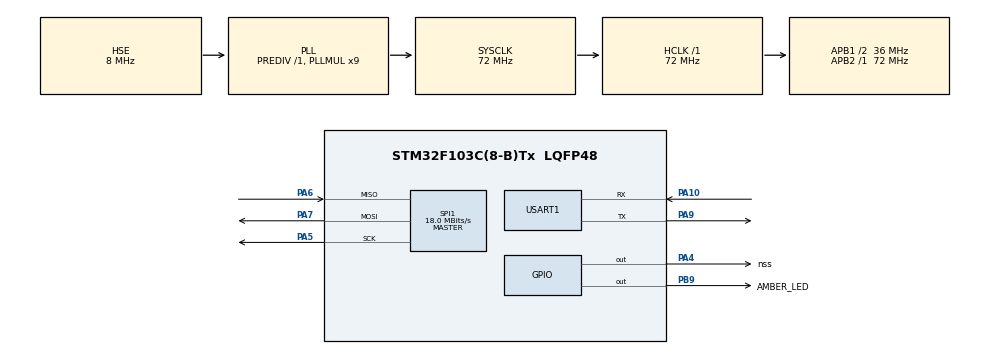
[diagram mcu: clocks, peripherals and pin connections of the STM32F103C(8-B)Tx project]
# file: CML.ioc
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Mcu.Family=STM32F1
Mcu.Name=STM32F103C(8-B)Tx
Mcu.Package=LQFP48
NVIC.PriorityGroup=NVIC_PRIORITYGROUP_4
NVIC.SPI1_IRQn=true\:0\:0\:false\:false\:true
NVIC.USART1_IRQn=true\:0\:0\:false\:false\:true
PA10.Mode=Asynchronous
PA10.Signal=USART1_RX
PA13.Mode=Serial_Wire
PA13.Signal=SYS_JTMS-SWDIO
PA14.Mode=Serial_Wire
PA14.Signal=SYS_JTCK-SWCLK
PA4.GPIO_Label=nss
PA4.GPIO_Speed=GPIO_SPEED_FREQ_HIGH
PA4.PinState=GPIO_PIN_SET
PA4.Signal=GPIO_Output
PA5.Mode=Full_Duplex_Master
PA5.Signal=SPI1_SCK
PA6.Mode=Full_Duplex_Master
PA6.Signal=SPI1_MISO
PA7.Mode=Full_Duplex_Master
PA7.Signal=SPI1_MOSI
PA9.Mode=Asynchronous
PA9.Signal=USART1_TX
PB9.GPIO_Label=AMBER_LED
PB9.GPIO_ModeDefaultOutputPP=GPIO_MODE_OUTPUT_PP
PB9.PinState=GPIO_PIN_SET
PB9.Signal=GPIO_Output
PD0-OSC_IN.Mode=HSE-External-Oscillator
PD0-OSC_IN.Signal=RCC_OSC_IN
PD1-OSC_OUT.Mode=HSE-External-Oscillator
PD1-OSC_OUT.Signal=RCC_OSC_OUT
ProjectManager.HeapSize=0x200
ProjectManager.StackSize=0x400
ProjectManager.TargetToolchain=SW4STM32
RCC.AHBFreq_Value=72000000
RCC.APB1CLKDivider=RCC_HCLK_DIV2
RCC.APB1Freq_Value=36000000
RCC.APB1TimFreq_Value=72000000
RCC.APB2Freq_Value=72000000
RCC.APB2TimFreq_Value=72000000
RCC.HCLKFreq_Value=72000000
RCC.PLLMUL=RCC_PLL_MUL9
RCC.PLLSourceVirtual=RCC_PLLSOURCE_HSE
RCC.SYSCLKFreq_VALUE=72000000
RCC.SYSCLKSource=RCC_SYSCLKSOURCE_PLLCLK
RCC.USBFreq_Value=72000000
SPI1.BaudRatePrescaler=SPI_BAUDRATEPRESCALER_4
SPI1.CLKPhase=SPI_PHASE_1EDGE
SPI1.CLKPolarity=SPI_POLARITY_LOW
SPI1.CalculateBaudRate=18.0 MBits/s
SPI1.Direction=SPI_DIRECTION_2LINES
SPI1.Mode=SPI_MODE_MASTER
SPI1.VirtualType=VM_MASTER
USART1.VirtualMode=VM_ASYNC
board=CML

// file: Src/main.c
/**
  ******************************************************************************
  * File Name          : main.c
  * Description        : Main program body
  ******************************************************************************
  ** This notice applies to any and all portions of this file
  * that are not between comment pairs USER CODE BEGIN and
  * USER CODE END. Other portions of this file, whether
  * inserted by the user or by software development tools
  * are owned by their respective copyright owners.
  *
  * COPYRIGHT(c) 2017 STMicroelectronics
  *
  * Redistribution and use in source and binary forms, with or without modification,
  * are permitted provided that the following conditions are met:
  *   1. Redistributions of source code must retain the above copyright notice,
  *      this list of conditions and the following disclaimer.
  *   2. Redistributions in binary form must reproduce the above copyright notice,
  *      this list of conditions and the following disclaimer in the documentation
  *      and/or other materials provided with the distribution.
  *   3. Neither the name of STMicroelectronics nor the names of its contributors
  *      may be used to endorse or promote products derived from this software
  *      without specific prior written permission.
  *
  * THIS SOFTWARE IS PROVIDED BY THE COPYRIGHT HOLDERS AND CONTRIBUTORS "AS IS"
  * AND ANY EXPRESS OR IMPLIED WARRANTIES, INCLUDING, BUT NOT LIMITED TO, THE
  * IMPLIED WARRANTIES OF MERCHANTABILITY AND FITNESS FOR A PARTICULAR PURPOSE ARE
  * DISCLAIMED. IN NO EVENT SHALL THE COPYRIGHT HOLDER OR CONTRIBUTORS BE LIABLE
  * FOR ANY DIRECT, INDIRECT, INCIDENTAL, SPECIAL, EXEMPLARY, OR CONSEQUENTIAL
  * DAMAGES (INCLUDING, BUT NOT LIMITED TO, PROCUREMENT OF SUBSTITUTE GOODS OR
  * SERVICES; LOSS OF USE, DATA, OR PROFITS; OR BUSINESS INTERRUPTION) HOWEVER
  * CAUSED AND ON ANY THEORY OF LIABILITY, WHETHER IN CONTRACT, STRICT LIABILITY,
  * OR TORT (INCLUDING NEGLIGENCE OR OTHERWISE) ARISING IN ANY WAY OUT OF THE USE
  * OF THIS SOFTWARE, EVEN IF ADVISED OF THE POSSIBILITY OF SUCH DAMAGE.
  *
  ******************************************************************************
  */
#include "main.h"
#include "stm32f1xx_hal.h"

/* USER CODE BEGIN Includes */
#include <string.h>
#include "strtonum.h"
#include <stdio.h>
#include <stdlib.h>
#include <errno.h>
#include <ctype.h>
#include <limits.h>
#include "SM_CommandLineInterface.h"

/* USER CODE END Includes */

SPI_HandleTypeDef hspi1;

UART_HandleTypeDef huart1;

/* USER CODE BEGIN PV */
/* Private variables ---------------------------------------------------------*/
extern void initialise_monitor_handles(void);
/* USER CODE END PV */

void SystemClock_Config(void);
static void MX_GPIO_Init(void);
static void MX_USART1_UART_Init(void);
static void MX_SPI1_Init(void);

/* USER CODE BEGIN PFP */
/* Private function prototypes -----------------------------------------------*/

/* USER CODE END PFP */

/* USER CODE BEGIN 0 */
#define MAXCLISTRING	300 	// Biggest string the user will type
uint8_t rxBuffer = 0; 			// where we store that one character that just came in
char rxString[MAXCLISTRING]; 	// where we build our string from characters coming in
int rxindex = 0; 				// index for going though rxString
#define CR		13				//"\r"
#define LF	 	10				//"\n"
#define BS		8				//"\b"
#define	del		127				//"del"

extern event eventStatus;

/* USER CODE END 0 */

int main(void)
{

  /* USER CODE BEGIN 1 */
	//uint8_t data[] = {0x9f, 0x68};
	//uint8_t pTxData[] = {0x9f,0,0,0};
	//uint8_t pRxData[16];

  /* USER CODE END 1 */

  /* MCU Configuration----------------------------------------------------------*/

  /* Reset of all peripherals, Initializes the Flash interface and the Systick. */
  HAL_Init();

  /* Configure the system clock */
  SystemClock_Config();

  /* Initialize all configured peripherals */
  MX_GPIO_Init();
  MX_USART1_UART_Init();
  MX_SPI1_Init();

  /* USER CODE BEGIN 2 */
  initialise_monitor_handles();
  stateMachine(eventStatus);
  //HAL_UART_Receive_IT(&huart1, &rxBuffer, 1);
  /* USER CODE END 2 */

  /* Infinite loop */
  /* USER CODE BEGIN WHILE */
  while (1)
  {
	//HAL_GPIO_TogglePin(AMBER_LED_GPIO_Port, AMBER_LED_Pin);
	//HAL_Delay(400);
  /* USER CODE END WHILE */

  }

}

/** System Clock Configuration
*/
void SystemClock_Config(void)
{

  RCC_OscInitTypeDef RCC_OscInitStruct;
  RCC_ClkInitTypeDef RCC_ClkInitStruct;

    /**Initializes the CPU, AHB and APB busses clocks
    */
  RCC_OscInitStruct.OscillatorType = RCC_OSCILLATORTYPE_HSE;
  RCC_OscInitStruct.HSEState = RCC_HSE_ON;
  RCC_OscInitStruct.HSEPredivValue = RCC_HSE_PREDIV_DIV1;
  RCC_OscInitStruct.HSIState = RCC_HSI_ON;
  RCC_OscInitStruct.PLL.PLLState = RCC_PLL_ON;
  RCC_OscInitStruct.PLL.PLLSource = RCC_PLLSOURCE_HSE;
  RCC_OscInitStruct.PLL.PLLMUL = RCC_PLL_MUL9;
  if (HAL_RCC_OscConfig(&RCC_OscInitStruct) != HAL_OK)
  {
    _Error_Handler(__FILE__, __LINE__);
  }

    /**Initializes the CPU, AHB and APB busses clocks
    */
  RCC_ClkInitStruct.ClockType = RCC_CLOCKTYPE_HCLK|RCC_CLOCKTYPE_SYSCLK
                              |RCC_CLOCKTYPE_PCLK1|RCC_CLOCKTYPE_PCLK2;
  RCC_ClkInitStruct.SYSCLKSource = RCC_SYSCLKSOURCE_PLLCLK;
  RCC_ClkInitStruct.AHBCLKDivider = RCC_SYSCLK_DIV1;
  RCC_ClkInitStruct.APB1CLKDivider = RCC_HCLK_DIV2;
  RCC_ClkInitStruct.APB2CLKDivider = RCC_HCLK_DIV1;

  if (HAL_RCC_ClockConfig(&RCC_ClkInitStruct, FLASH_LATENCY_2) != HAL_OK)
  {
    _Error_Handler(__FILE__, __LINE__);
  }

    /**Configure the Systick interrupt time
    */
  HAL_SYSTICK_Config(HAL_RCC_GetHCLKFreq()/1000);

    /**Configure the Systick
    */
  HAL_SYSTICK_CLKSourceConfig(SYSTICK_CLKSOURCE_HCLK);

  /* SysTick_IRQn interrupt configuration */
  HAL_NVIC_SetPriority(SysTick_IRQn, 0, 0);
}

/* SPI1 init function */
static void MX_SPI1_Init(void)
{

  hspi1.Instance = SPI1;
  hspi1.Init.Mode = SPI_MODE_MASTER;
  hspi1.Init.Direction = SPI_DIRECTION_2LINES;
  hspi1.Init.DataSize = SPI_DATASIZE_8BIT;
  hspi1.Init.CLKPolarity = SPI_POLARITY_LOW;
  hspi1.Init.CLKPhase = SPI_PHASE_1EDGE;
  hspi1.Init.NSS = SPI_NSS_SOFT;
  hspi1.Init.BaudRatePrescaler = SPI_BAUDRATEPRESCALER_4;
  hspi1.Init.FirstBit = SPI_FIRSTBIT_MSB;
  hspi1.Init.TIMode = SPI_TIMODE_DISABLE;
  hspi1.Init.CRCCalculation = SPI_CRCCALCULATION_DISABLE;
  hspi1.Init.CRCPolynomial = 10;
  if (HAL_SPI_Init(&hspi1) != HAL_OK)
  {
    _Error_Handler(__FILE__, __LINE__);
  }

}

/* USART1 init function */
static void MX_USART1_UART_Init(void)
{

  huart1.Instance = USART1;
  huart1.Init.BaudRate = 115200;
  huart1.Init.WordLength = UART_WORDLENGTH_8B;
  huart1.Init.StopBits = UART_STOPBITS_1;
  huart1.Init.Parity = UART_PARITY_NONE;
  huart1.Init.Mode = UART_MODE_TX_RX;
  huart1.Init.HwFlowCtl = UART_HWCONTROL_NONE;
  huart1.Init.OverSampling = UART_OVERSAMPLING_16;
  if (HAL_UART_Init(&huart1) != HAL_OK)
  {
    _Error_Handler(__FILE__, __LINE__);
  }

}

/** Configure pins as
        * Analog
        * Input
        * Output
        * EVENT_OUT
        * EXTI
*/
static void MX_GPIO_Init(void)
{

  GPIO_InitTypeDef GPIO_InitStruct;

  /* GPIO Ports Clock Enable */
  __HAL_RCC_GPIOD_CLK_ENABLE();
  __HAL_RCC_GPIOA_CLK_ENABLE();
  __HAL_RCC_GPIOB_CLK_ENABLE();

  /*Configure GPIO pin Output Level */
  HAL_GPIO_WritePin(nss_GPIO_Port, nss_Pin, GPIO_PIN_SET);

  /*Configure GPIO pin Output Level */
  HAL_GPIO_WritePin(AMBER_LED_GPIO_Port, AMBER_LED_Pin, GPIO_PIN_SET);

  /*Configure GPIO pin : nss_Pin */
  GPIO_InitStruct.Pin = nss_Pin;
  GPIO_InitStruct.Mode = GPIO_MODE_OUTPUT_PP;
  GPIO_InitStruct.Speed = GPIO_SPEED_FREQ_HIGH;
  HAL_GPIO_Init(nss_GPIO_Port, &GPIO_InitStruct);

  /*Configure GPIO pin : AMBER_LED_Pin */
  GPIO_InitStruct.Pin = AMBER_LED_Pin;
  GPIO_InitStruct.Mode = GPIO_MODE_OUTPUT_PP;
  GPIO_InitStruct.Speed = GPIO_SPEED_FREQ_LOW;
  HAL_GPIO_Init(AMBER_LED_GPIO_Port, &GPIO_InitStruct);

}

void _Error_Handler(char * file, int line)
{
  while(1)
  {
  }
}

/************************ (C) COPYRIGHT STMicroelectronics *****END OF FILE****/
